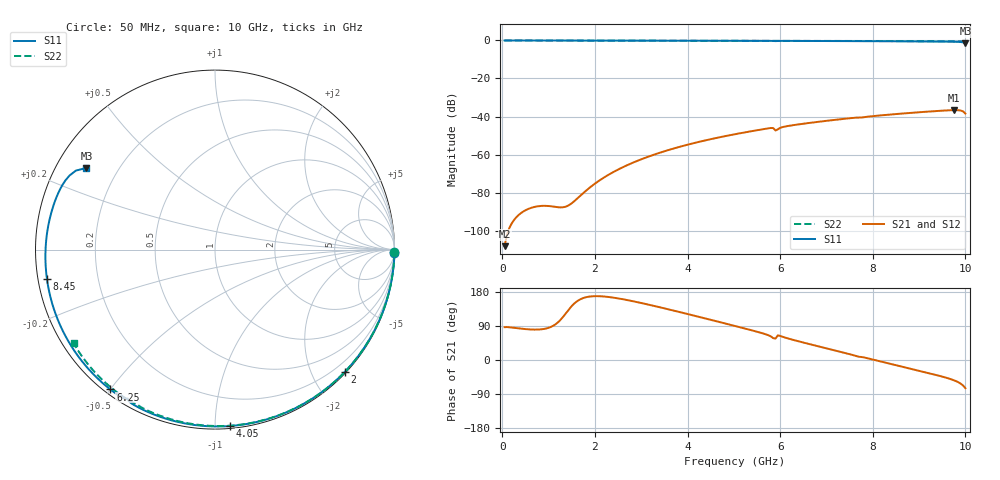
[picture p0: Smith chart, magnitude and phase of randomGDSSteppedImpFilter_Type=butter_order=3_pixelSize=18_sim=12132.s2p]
! freq	dB(S11)	phase(S11)	dB(S12)	phase(S12)
!  dB(S21)	phase(S21)	dB(S22)	phase(S22)
!S-par simulation data
#  GHz  S  DB  R 50
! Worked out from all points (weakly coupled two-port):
!   200 points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, 50 MHz to 10 GHz, reference 50 ohm
!   highest |S21| = -36.64 dB at 9.75 GHz (marker M1); lowest = -108.2 dB at 50 MHz (marker M2)
!   lowest |S11| = -1.4 dB at 10 GHz (marker M3), VSWR 12.20, Z = 4.44 + j14.4 ohm
!   |S11| at or under -10 dB: nowhere
!   |S22| runs from -0.5 to 0.0 dB; largest |S21 - S12| = 0
!   S11 on the Smith chart (normalised r, x): 50 MHz: open; 2 GHz: 0.02, -2.51; 4.05 GHz: 0.01, -1.09; 6.25 GHz: 0.02, -0.50; 8.45 GHz: 0.03, -0.09; 10 GHz: 0.09, +0.29
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0.05  -0.00 -1.1  -108.17 86.6  -108.17 86.6  -0.00 -0.9
0.85  -0.02 -18.7  -86.98 81.1  -86.98 81.1  -0.02 -14.3
1.75  -0.05 -38.1  -80.23 163.6  -80.23 163.6  -0.04 -29.2
2  -0.06 -43.4  -75.29 168.5  -75.29 168.5  -0.04 -33.3
2.3  -0.06 -49.7  -70.53 166.2  -70.53 166.2  -0.05 -38.1
2.6  -0.07 -55.9  -66.68 160.4  -66.68 160.4  -0.05 -42.9
3.4  -0.10 -72.2  -59.04 139.2  -59.04 139.2  -0.07 -55.4
4.05  -0.12 -85.0  -54.50 119.9  -54.50 119.9  -0.09 -65.3
5.05  -0.16 -104.3  -49.18 89.0  -49.18 89.0  -0.12 -80.0
5.8  -0.22 -118.8  -46.03 62.1  -46.03 62.1  -0.15 -90.7
5.85  -0.26 -119.8  -46.08 57.6  -46.08 57.6  -0.16 -91.4
5.9  -0.34 -120.3  -47.34 56.5  -47.34 56.5  -0.16 -92.1
6.05  -0.23 -122.9  -45.56 61.4  -45.56 61.4  -0.17 -94.2
6.25  -0.24 -126.8  -44.65 54.1  -44.65 54.1  -0.17 -96.9
6.7  -0.27 -135.4  -43.15 39.9  -43.15 39.9  -0.20 -103.0
7.55  -0.34 -151.8  -40.77 13.8  -40.77 13.8  -0.26 -114.5
8.35  -0.43 -168.0  -39.01 -9.1  -39.01 -9.1  -0.32 -124.9
8.45  -0.44 -170.1  -38.80 -12.1  -38.80 -12.1  -0.33 -126.2
9.15  -0.53 174.4  -37.48 -32.8  -37.48 -32.8  -0.39 -135.3
9.75  -0.67 158.7  -36.64 -53.4  -36.64 -53.4  -0.46 -143.2
9.9  -0.82 153.0  -36.86 -62.5  -36.86 -62.5  -0.48 -145.1
10  -1.43 147.6  -38.47 -74.4  -38.47 -74.4  -0.49 -146.5
